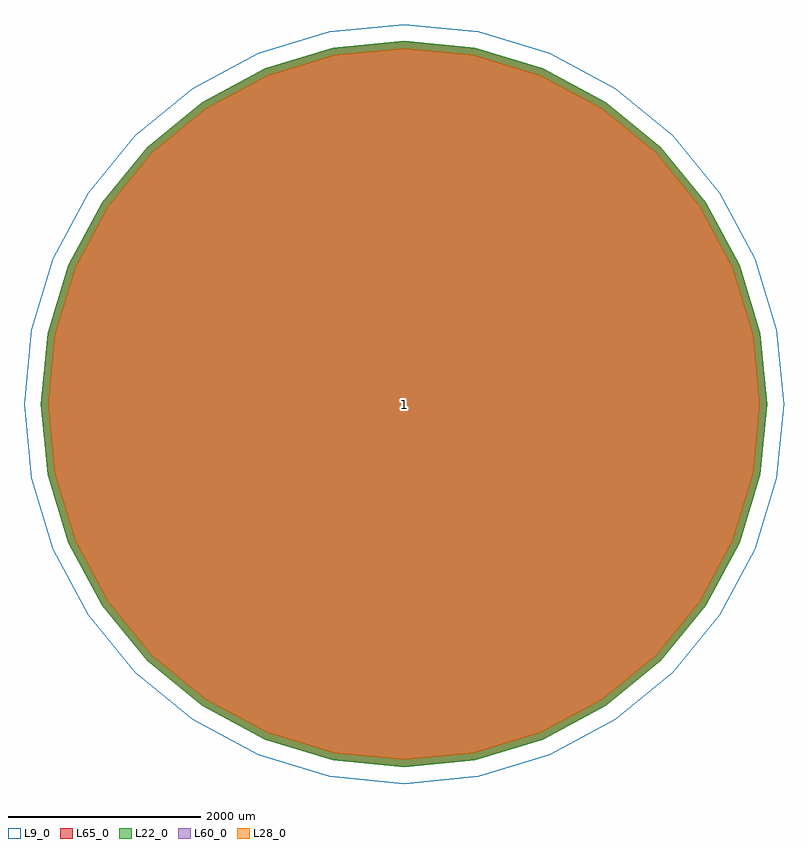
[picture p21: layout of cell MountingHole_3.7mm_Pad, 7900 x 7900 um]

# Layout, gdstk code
import gdstk
lib = gdstk.Library(unit=1e-6, precision=1e-09)
def P(c, l, *ps):  # polygons
    for p in ps: c.add(gdstk.Polygon(p, *l))
L9_0 = (9, 0)
L22_0 = (22, 0)
L28_0 = (28, 0)
L60_0 = (60, 0)
L65_0 = (65, 0)

mountinghole_3_7mm_pad = lib.new_cell('MountingHole_3.7mm_Pad')
P(mountinghole_3_7mm_pad, L9_0, [(3950,0),(3874.102,770.607),(3649.324,1511.6),(3284.305,2194.502),(2793.072,2793.072),(2194.502,3284.305),(1511.6,3649.324),(770.607,3874.102),(0,3950),(-770.607,3874.102),(-1511.6,3649.324),(-2194.502,3284.305),(-2793.072,2793.072),(-3284.305,2194.502),(-3649.324,1511.6),(-3874.102,770.607),(-3950,0),(-3874.102,-770.607),(-3649.324,-1511.6),(-3284.305,-2194.502),(-2793.072,-2793.072),(-2194.502,-3284.305),(-1511.6,-3649.324),(-770.607,-3874.102),(0,-3950),(770.607,-3874.102),(1511.6,-3649.324),(2194.502,-3284.305),(2793.072,-2793.072),(3284.305,-2194.502),(3649.324,-1511.6),(3874.102,-770.607)],
  [(3700,0),(3628.906,721.834),(3418.354,1415.929),(3076.438,2055.61),(2616.295,2616.295),(2055.61,3076.438),(1415.929,3418.354),(721.834,3628.906),(0,3700),(-721.834,3628.906),(-1415.929,3418.354),(-2055.61,3076.438),(-2616.295,2616.295),(-3076.438,2055.61),(-3418.354,1415.929),(-3628.906,721.834),(-3700,0),(-3628.906,-721.834),(-3418.354,-1415.929),(-3076.438,-2055.61),(-2616.295,-2616.295),(-2055.61,-3076.438),(-1415.929,-3418.354),(-721.834,-3628.906),(0,-3700),(721.834,-3628.906),(1415.929,-3418.354),(2055.61,-3076.438),(2616.295,-2616.295),(3076.438,-2055.61),(3418.354,-1415.929),(3628.906,-721.834)])
P(mountinghole_3_7mm_pad, L22_0, [(3775,0),(3702.464,736.466),(3487.645,1444.63),(3138.798,2097.278),(2669.328,2669.328),(2097.278,3138.798),(1444.63,3487.645),(736.466,3702.464),(0,3775),(-736.466,3702.464),(-1444.63,3487.645),(-2097.278,3138.798),(-2669.328,2669.328),(-3138.798,2097.278),(-3487.645,1444.63),(-3702.464,736.466),(-3775,0),(-3702.464,-736.466),(-3487.645,-1444.63),(-3138.798,-2097.278),(-2669.328,-2669.328),(-2097.278,-3138.798),(-1444.63,-3487.645),(-736.466,-3702.464),(0,-3775),(736.466,-3702.464),(1444.63,-3487.645),(2097.278,-3138.798),(2669.328,-2669.328),(3138.798,-2097.278),(3487.645,-1444.63),(3702.464,-736.466)])
P(mountinghole_3_7mm_pad, L28_0, [(3700,0),(3628.906,721.834),(3418.354,1415.929),(3076.438,2055.61),(2616.295,2616.295),(2055.61,3076.438),(1415.929,3418.354),(721.834,3628.906),(0,3700),(-721.834,3628.906),(-1415.929,3418.354),(-2055.61,3076.438),(-2616.295,2616.295),(-3076.438,2055.61),(-3418.354,1415.929),(-3628.906,721.834),(-3700,0),(-3628.906,-721.834),(-3418.354,-1415.929),(-3076.438,-2055.61),(-2616.295,-2616.295),(-2055.61,-3076.438),(-1415.929,-3418.354),(-721.834,-3628.906),(0,-3700),(721.834,-3628.906),(1415.929,-3418.354),(2055.61,-3076.438),(2616.295,-2616.295),(3076.438,-2055.61),(3418.354,-1415.929),(3628.906,-721.834)])
P(mountinghole_3_7mm_pad, L60_0, [(3700,0),(3628.906,721.834),(3418.354,1415.929),(3076.438,2055.61),(2616.295,2616.295),(2055.61,3076.438),(1415.929,3418.354),(721.834,3628.906),(0,3700),(-721.834,3628.906),(-1415.929,3418.354),(-2055.61,3076.438),(-2616.295,2616.295),(-3076.438,2055.61),(-3418.354,1415.929),(-3628.906,721.834),(-3700,0),(-3628.906,-721.834),(-3418.354,-1415.929),(-3076.438,-2055.61),(-2616.295,-2616.295),(-2055.61,-3076.438),(-1415.929,-3418.354),(-721.834,-3628.906),(0,-3700),(721.834,-3628.906),(1415.929,-3418.354),(2055.61,-3076.438),(2616.295,-2616.295),(3076.438,-2055.61),(3418.354,-1415.929),(3628.906,-721.834)])
P(mountinghole_3_7mm_pad, L65_0, [(3775,0),(3702.464,736.466),(3487.645,1444.63),(3138.798,2097.278),(2669.328,2669.328),(2097.278,3138.798),(1444.63,3487.645),(736.466,3702.464),(0,3775),(-736.466,3702.464),(-1444.63,3487.645),(-2097.278,3138.798),(-2669.328,2669.328),(-3138.798,2097.278),(-3487.645,1444.63),(-3702.464,736.466),(-3775,0),(-3702.464,-736.466),(-3487.645,-1444.63),(-3138.798,-2097.278),(-2669.328,-2669.328),(-2097.278,-3138.798),(-1444.63,-3487.645),(-736.466,-3702.464),(0,-3775),(736.466,-3702.464),(1444.63,-3487.645),(2097.278,-3138.798),(2669.328,-2669.328),(3138.798,-2097.278),(3487.645,-1444.63),(3702.464,-736.466)])
mountinghole_3_7mm_pad.add(gdstk.Label('1', (0,0), layer=28, texttype=0))
mountinghole_3_7mm_pad.add(gdstk.Label('type', (0,-4700), layer=9, texttype=0))
mountinghole_3_7mm_pad.add(gdstk.Label('devicename', (0,4700), layer=9, texttype=0))

lib.write_gds('MountingHole_3.7mm_Pad.gds')
